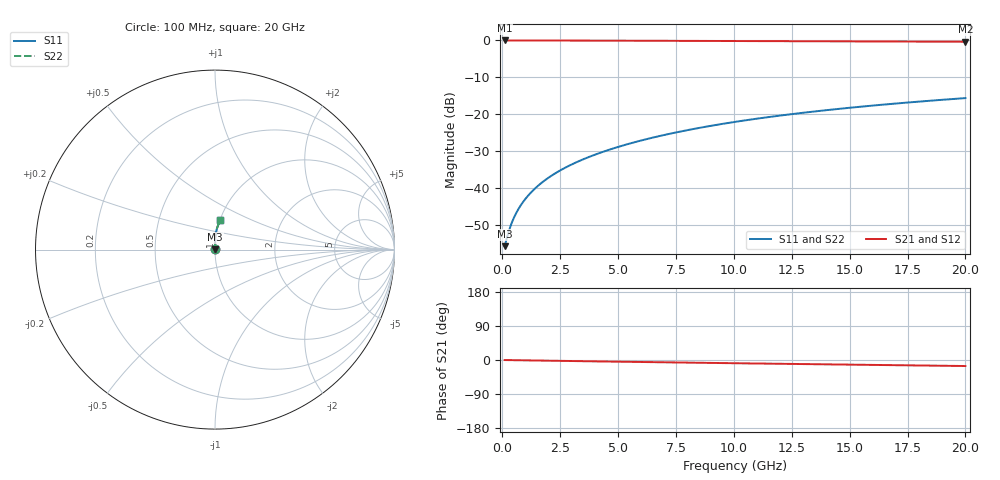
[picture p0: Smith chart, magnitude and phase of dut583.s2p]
! Touchstone file exported from HFSS 2024.1.0
!  File:  C:/UserFiles/LocalFiles/RDL_TSV_Batchsim/temp_RDL_bottom_583_1779690740.aedt
!  Generated:  02:35:08 PM May 25, 2026
!  Design:  RDL_bottom
!  Project:  temp_RDL_bottom_583_1779690740
!  Setup:  Setup1
!  Solution:  Sweep
! Variables:
!  dtsv = 10.80580581um
!  hbump = 3um
!  htsv = 64.28um
!  ldown = 201.52um
!  lrdl = 100um
!  p = 40
!  p1 = 47.18um
!  rhole = 1um
!  t = 450um
!  tdown = 2.59um
!  trdl = 3.915915916um
!  wdown = 24.53um
!  wrdl = 20um
# GHz S MA R 50.000000
! Terminal data exported
! Port[1] = RDL1_T1
! Port[2] = RDL1_T2
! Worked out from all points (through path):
!   200 points, 100 MHz to 20 GHz, reference 50 ohm
!   highest |S21| = -0.01 dB at 100 MHz (marker M1); lowest = -0.4 dB at 20 GHz (marker M2)
!   group delay of S21, straight-line fit = 2.19 ps
!   lowest |S11| = -55.6 dB at 100 MHz (marker M3), VSWR 1.00, Z = 50.1 + j0.0775 ohm
!   |S11| at or under -10 dB: start of sweep to end of sweep
!   |S22| runs from -55.6 to -15.6 dB; largest |S21 - S12| = 3e-15
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0.1  0.00165 27.9  0.9985 -0.1  0.9985 -0.1  0.00165 27.9
! Gamma 0 0 0 0
! Port Impedance 50 0 50 0
0.3  0.002737 55.3  0.9984 -0.3  0.9984 -0.3  0.002737 55.3
0.4  0.003361 61.3  0.9983 -0.4  0.9983 -0.4  0.003361 61.3
0.5  0.003992 65.5  0.9982 -0.5  0.9982 -0.5  0.003992 65.5
0.6  0.004627 68.7  0.9982 -0.6  0.9982 -0.6  0.004627 68.7
0.8  0.005908 73.2  0.998 -0.8  0.998 -0.8  0.005908 73.2
1  0.007206 76.3  0.9979 -0.9  0.9979 -0.9  0.007206 76.3
1.2  0.008523 78.6  0.9977 -1.1  0.9977 -1.1  0.008523 78.7
1.4  0.009857 80.4  0.9975 -1.3  0.9975 -1.3  0.009857 80.4
1.7  0.01189 82.5  0.9973 -1.6  0.9973 -1.6  0.01189 82.5
2.2  0.01534 84.9  0.9967 -2.0  0.9967 -2.0  0.01534 84.9
2.8  0.0196 86.8  0.9959 -2.6  0.9959 -2.6  0.0196 86.8
3.5  0.02472 88.2  0.9948 -3.2  0.9948 -3.2  0.02472 88.2
4.2  0.03002 89.1  0.9935 -3.8  0.9935 -3.8  0.03002 89.2
5  0.03627 89.8  0.9919 -4.5  0.9919 -4.5  0.03627 89.8
6.8  0.05102 90.1  0.988 -6.0  0.988 -6.0  0.05102 90.1
8.4  0.0647 89.5  0.9844 -7.2  0.9844 -7.2  0.0647 89.5
10.1  0.07957 88.4  0.9806 -8.6  0.9806 -8.6  0.07957 88.4
11.7  0.0937 87.1  0.9771 -9.8  0.9771 -9.8  0.0937 87.2
13.4  0.1087 85.7  0.9735 -11.1  0.9735 -11.1  0.1087 85.7
16.7  0.1376 82.7  0.9665 -13.5  0.9665 -13.5  0.1376 82.7
20  0.1659 79.8  0.9596 -15.9  0.9596 -15.9  0.1659 79.8
